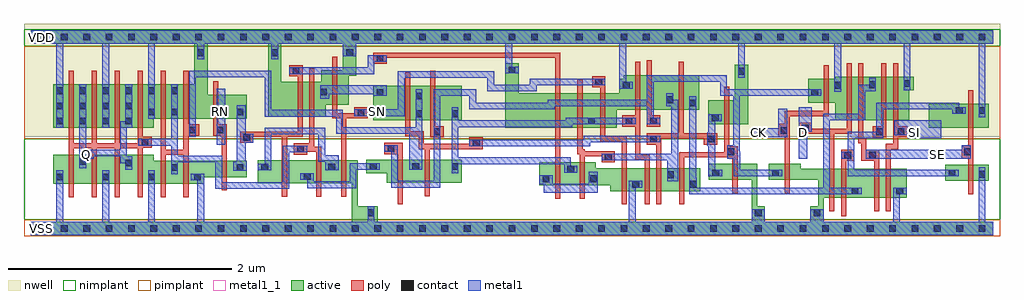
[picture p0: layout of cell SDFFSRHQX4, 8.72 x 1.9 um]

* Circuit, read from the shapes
.subckt SDFFSRHQX4 CK D Q RN SE SI SN VDD VSS
M1 Q n1 VSS VSS nfet w=0.26u l=0.045u m=4
M2 n1 n2 VSS VSS nfet w=0.205u l=0.045u m=2
M3 n3 RN VSS VSS nfet w=0.145u l=0.045u
M4 n4 n3 n5 VSS nfet w=0.205u l=0.045u
M5 n5 n1 n4 VSS nfet w=0.205u l=0.045u
M6 VSS SN n5 VSS nfet w=0.205u l=0.045u
M7 n2 n6 n4 VSS nfet w=0.205u l=0.045u
M8 n7 n8 n2 VSS nfet w=0.205u l=0.045u
M9 n7 n3 n9 VSS nfet w=0.205u l=0.045u
M10 n9 n10 n7 VSS nfet w=0.205u l=0.045u
M11 VSS SN n9 VSS nfet w=0.205u l=0.045u
M12 n11 n7 VSS VSS nfet w=0.205u l=0.045u
M13 n10 n8 n11 VSS nfet w=0.205u l=0.045u
M14 n12 n6 n10 VSS nfet w=0.205u l=0.045u
M15 VSS n6 n8 VSS nfet w=0.145u l=0.045u
M16 VSS CK n6 VSS nfet w=0.145u l=0.045u
M17 n13 D VSS VSS nfet w=0.26u l=0.045u
M18 n12 n14 n13 VSS nfet w=0.26u l=0.045u
M19 n15 SE n12 VSS nfet w=0.26u l=0.045u
M20 VSS SI n15 VSS nfet w=0.26u l=0.045u
M21 VSS SE n14 VSS nfet w=0.145u l=0.045u
M22 Q n1 VDD VDD pfet w=0.39u l=0.045u m=4
M23 n1 n2 VDD VDD pfet w=0.31u l=0.045u m=2
M24 n3 RN VDD VDD pfet w=0.215u l=0.045u
M25 n16 n3 VDD VDD pfet w=0.31u l=0.045u
M26 n17 n1 n16 VDD pfet w=0.31u l=0.045u
M27 VDD SN n17 VDD pfet w=0.31u l=0.045u
M28 n2 n8 n17 VDD pfet w=0.31u l=0.045u
M29 n7 n6 n2 VDD pfet w=0.31u l=0.045u
M30 n18 n3 VDD VDD pfet w=0.31u l=0.045u
M31 n7 n10 n18 VDD pfet w=0.31u l=0.045u
M32 VDD SN n7 VDD pfet w=0.31u l=0.045u
M33 n19 n7 VDD VDD pfet w=0.31u l=0.045u
M34 n10 n6 n19 VDD pfet w=0.31u l=0.045u
M35 n12 n8 n10 VDD pfet w=0.31u l=0.045u
M36 VDD n6 n8 VDD pfet w=0.215u l=0.045u
M37 VDD CK n6 VDD pfet w=0.215u l=0.045u
M38 n20 D VDD VDD pfet w=0.39u l=0.045u
M39 n12 SE n20 VDD pfet w=0.39u l=0.045u
M40 n21 n14 n12 VDD pfet w=0.39u l=0.045u
M41 VDD SI n21 VDD pfet w=0.39u l=0.045u
M42 VDD SE n14 VDD pfet w=0.215u l=0.045u
.ends

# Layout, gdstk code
import gdstk
lib = gdstk.Library(unit=1e-6, precision=5e-10)
def R(c, l, rs):  # rectangles x0, y0, x1, y1
    for r in rs: c.add(gdstk.rectangle(r[:2], r[2:], *l))
def A(c, l, x, y, w, h, nx, ny, dx, dy):  # array of equal rectangles
    R(c, l, [(x+i*dx, y+j*dy, x+i*dx+w, y+j*dy+h) for i in range(nx) for j in range(ny)])
def P(c, l, *ps):  # polygons
    for p in ps: c.add(gdstk.Polygon(p, *l))
active = (1, 0)
nwell = (2, 0)
poly = (3, 0)
nimplant = (4, 0)
pimplant = (5, 0)
contact = (6, 0)
metal1 = (7, 0)
metal1_1 = (7, 1)

sdffsrhqx4 = lib.new_cell('SDFFSRHQX4')
R(sdffsrhqx4, active, [(8.17,0.425,8.56,0.57), (8.025,0.9,8.56,1.115), (3.06,0.965,3.85,1.275)])
P(sdffsrhqx4, active, [(0,1.77),(8.6,1.77),(8.6,1.65),(2.91,1.65),(2.91,1.365),(2.84,1.365),(2.84,1.105),(2.635,1.105),(2.635,1),(2.12,1),(2.12,1.65),(2.24,1.65),(2.24,1.31),(2.595,1.31),(2.595,1.415),(2.79,1.415),(2.79,1.65),(1.58,1.65),(1.58,1.195),(1.93,1.195),(1.93,0.98),(1.1,0.98),(1.1,0.9),(0.2,0.9),(0.2,1.29),(1.46,1.29),(1.46,1.65),(0,1.65)],
  [(4.24,1.475),(4.36,1.475),(4.36,1.21),(5.26,1.21),(5.26,1.34),(5.3,1.34),(5.3,1.37),(5.975,1.37),(5.975,1.06),(5.235,1.06),(5.235,0.9),(4.24,0.9)],
  [(6.29,1.465),(6.41,1.465),(6.41,0.93),(6.055,0.93),(6.055,1.145),(6.29,1.145)],
  [(7.19,1.355),(7.89,1.355),(7.89,1.235),(7.85,1.235),(7.85,0.965),(7.19,0.965),(7.19,1.125),(6.945,1.125),(6.945,1.34),(7.19,1.34)],
  [(0.2,0.66),(1.1,0.66),(1.1,0.605),(1.93,0.605),(1.93,0.46),(1.55,0.46),(1.55,0.4),(0.2,0.4)],
  [(3,0.615),(3.85,0.615),(3.85,0.41),(3.18,0.41),(3.18,0.495),(3,0.495)],
  [(2.03,0.61),(2.92,0.61),(2.92,0.2),(3.1,0.2),(3.1,0.06),(6.44,0.06),(6.44,0.435),(6.06,0.435),(6.06,0.58),(6.49,0.58),(6.49,0.2),(6.56,0.2),(6.56,0.06),(6.965,0.06),(6.965,0.2),(7.035,0.2),(7.035,0.435),(6.595,0.435),(6.595,0.58),(6.88,0.58),(6.88,0.535),(7.825,0.535),(7.825,0.275),(7.085,0.275),(7.085,0.06),(8.6,0.06),(8.6,-0.06),(0,-0.06),(0,0.06),(2.87,0.06),(2.87,0.405),(2.03,0.405)],
  [(4.545,0.59),(5.05,0.59),(5.05,0.54),(5.98,0.54),(5.98,0.335),(5.18,0.335),(5.18,0.385),(4.545,0.385)])
R(sdffsrhqx4, nwell, [(-0.06,0.82,8.66,1.83)])
P(sdffsrhqx4, poly, [(0.34,1.41),(0.385,1.41),(0.385,0.76),(0.545,0.76),(0.545,1.41),(0.59,1.41),(0.59,0.76),(0.75,0.76),(0.75,1.41),(0.795,1.41),(0.795,0.76),(0.955,0.76),(0.955,1.41),(1,1.41),(1,0.82),(1.08,0.82),(1.08,0.72),(1,0.72),(1,0.28),(0.955,0.28),(0.955,0.715),(0.795,0.715),(0.795,0.28),(0.75,0.28),(0.75,0.715),(0.59,0.715),(0.59,0.28),(0.545,0.28),(0.545,0.715),(0.385,0.715),(0.385,0.28),(0.34,0.28)],
  [(1.16,1.41),(1.205,1.41),(1.205,0.705),(1.365,0.705),(1.365,1.41),(1.41,1.41),(1.41,0.93),(1.505,0.93),(1.505,0.83),(1.41,0.83),(1.41,0.28),(1.365,0.28),(1.365,0.66),(1.205,0.66),(1.205,0.28),(1.16,0.28)],
  [(1.63,1.315),(1.675,1.315),(1.675,0.93),(1.75,0.93),(1.75,0.34),(1.705,0.34),(1.705,0.83),(1.63,0.83)],
  [(2.31,1.46),(2.43,1.46),(2.43,0.82),(2.29,0.82),(2.29,0.285),(2.245,0.285),(2.245,0.82),(1.99,0.82),(1.99,0.765),(1.87,0.765),(1.87,0.865),(2.385,0.865),(2.385,1.36),(2.31,1.36)],
  [(2.695,1.535),(2.74,1.535),(2.74,1.03),(2.89,1.03),(2.89,1.085),(3.01,1.085),(3.01,0.985),(2.82,0.985),(2.82,0.285),(2.775,0.285),(2.775,0.985),(2.695,0.985)],
  [(3.06,1.57),(4.73,1.57),(4.73,0.265),(4.685,0.265),(4.685,1.525),(3.18,1.525),(3.18,1.47),(3.06,1.47)],
  [(2.49,1.43),(2.535,1.43),(2.535,0.73),(2.595,0.73),(2.595,0.285),(2.55,0.285),(2.55,0.685),(2.47,0.685),(2.47,0.66),(2.35,0.66),(2.35,0.76),(2.49,0.76)],
  [(5.015,1.36),(5.135,1.36),(5.135,0.825),(5.325,0.825),(5.325,0.215),(5.28,0.215),(5.28,0.78),(5.09,0.78),(5.09,1.26),(5.015,1.26)],
  [(3.345,1.395),(3.39,1.395),(3.39,0.87),(3.51,0.87),(3.51,0.755),(3.92,0.755),(3.92,0.815),(4.04,0.815),(4.04,0.71),(3.565,0.71),(3.565,0.29),(3.52,0.29),(3.52,0.71),(3.465,0.71),(3.465,0.825),(3.345,0.825)],
  [(3.57,1.41),(3.615,1.41),(3.615,0.915),(3.69,0.915),(3.69,0.815),(3.57,0.815)],
  [(4.885,1.33),(4.93,1.33),(4.93,0.71),(4.95,0.71),(4.95,0.69),(5.22,0.69),(5.22,0.59),(5.1,0.59),(5.1,0.645),(4.95,0.645),(4.95,0.265),(4.905,0.265),(4.905,0.665),(4.885,0.665)],
  [(5.4,1.49),(5.445,1.49),(5.445,0.66),(5.53,0.66),(5.53,0.215),(5.485,0.215),(5.485,0.615),(5.4,0.615),(5.4,0.91),(5.285,0.91),(5.285,1.01),(5.4,1.01)],
  [(5.505,1.505),(5.55,1.505),(5.55,1.01),(5.625,1.01),(5.625,0.91),(5.505,0.91)],
  [(5.79,1.49),(5.835,1.49),(5.835,0.85),(6.135,0.85),(6.135,0.75),(6.015,0.75),(6.015,0.805),(5.635,0.805),(5.635,0.215),(5.59,0.215),(5.59,0.75),(5.505,0.75),(5.505,0.85),(5.79,0.85)],
  [(7.085,1.46),(7.13,1.46),(7.13,1.005),(6.78,1.005),(6.78,0.315),(6.735,0.315),(6.735,0.815),(6.68,0.815),(6.68,0.935),(6.735,0.935),(6.735,1.05),(7.085,1.05)],
  [(6.86,0.945),(6.98,0.945),(6.98,0.89),(7.29,0.89),(7.29,1.475),(7.335,1.475),(7.335,0.845),(7.18,0.845),(7.18,0.155),(7.135,0.155),(7.135,0.845),(6.86,0.845)],
  [(7.395,1.475),(7.44,1.475),(7.44,0.805),(7.465,0.805),(7.465,0.705),(7.58,0.705),(7.58,0.155),(7.535,0.155),(7.535,0.605),(7.42,0.605),(7.42,0.76),(7.395,0.76)],
  [(7.6,1.475),(7.645,1.475),(7.645,0.815),(7.525,0.815),(7.525,0.915),(7.6,0.915)],
  [(7.705,1.475),(7.75,1.475),(7.75,0.915),(7.835,0.915),(7.835,0.815),(7.75,0.815),(7.75,0.71),(7.685,0.71),(7.685,0.155),(7.64,0.155),(7.64,0.755),(7.705,0.755)],
  [(6.195,1.265),(6.24,1.265),(6.24,0.735),(6.315,0.735),(6.315,0.315),(6.27,0.315),(6.27,0.635),(5.84,0.635),(5.84,0.215),(5.795,0.215),(5.795,0.68),(6.195,0.68)],
  [(8.375,1.235),(8.42,1.235),(8.42,0.305),(8.375,0.305),(8.375,0.625),(8.32,0.625),(8.32,0.745),(8.375,0.745)],
  [(3.16,0.765),(3.325,0.765),(3.325,0.215),(3.28,0.215),(3.28,0.665),(3.16,0.665)],
  [(7.24,0.705),(7.36,0.705),(7.36,0.605),(7.285,0.605),(7.285,0.11),(7.24,0.11)])
R(sdffsrhqx4, nimplant, [(-0.06,0.08,8.66,0.8), (-0.06,1.63,8.66,1.78)])
R(sdffsrhqx4, pimplant, [(-0.06,-0.07,8.66,0.08), (-0.06,0.8,8.66,1.63)])
A(sdffsrhqx4, contact, 0.07, -0.03, 0.06, 0.06, 43, 2, 0.2, 1.71)
A(sdffsrhqx4, contact, 0.23, 0.43, 0.06, 0.06, 4, 1, 0.41, 0)
A(sdffsrhqx4, contact, 0.23, 0.93, 0.06, 0.06, 4, 2, 0.205, 0.135)
A(sdffsrhqx4, contact, 0.23, 1.2, 0.06, 0.06, 6, 1, 0.205, 0)
R(sdffsrhqx4, contact, [(3.01,0.11,3.07,0.17), (6.47,0.11,6.53,0.17), (6.995,0.11,7.055,0.17), (7.335,0.305,7.395,0.365), (7.735,0.305,7.795,0.365), (5.375,0.365,5.435,0.425), (5.89,0.365,5.95,0.425), (4.575,0.415,4.635,0.475), (5,0.415,5.06,0.475), (2.44,0.435,2.5,0.495), (5.685,0.45,5.745,0.51), (8.47,0.455,8.53,0.515), (6.09,0.465,6.15,0.525), (6.625,0.465,6.685,0.525), (8.2,0.465,8.26,0.525), (4.795,0.5,4.855,0.56), (1.255,0.515,1.315,0.575), (1.84,0.515,1.9,0.575), (2.06,0.52,2.12,0.58), (2.66,0.52,2.72,0.58), (3.03,0.525,3.09,0.585), (3.41,0.525,3.47,0.585), (3.76,0.525,3.82,0.585), (0.845,0.555,0.905,0.615), (0.435,0.57,0.495,0.63), (5.13,0.61,5.19,0.67), (7.27,0.625,7.33,0.685), (7.49,0.625,7.55,0.685), (6.225,0.655,6.285,0.715), (8.34,0.655,8.4,0.715), (2.38,0.68,2.44,0.74), (3.19,0.685,3.25,0.745), (3.95,0.735,4.01,0.795), (0.99,0.74,1.05,0.8), (5.535,0.77,5.595,0.83), (6.045,0.77,6.105,0.83), (1.9,0.785,1.96,0.845), (3.6,0.835,3.66,0.895), (7.555,0.835,7.615,0.895), (7.745,0.835,7.805,0.895), (6.7,0.845,6.76,0.905), (1.415,0.85,1.475,0.91), (1.66,0.85,1.72,0.91), (6.89,0.865,6.95,0.925), (4.98,0.93,5.04,0.99), (5.315,0.93,5.375,0.99), (5.535,0.93,5.595,0.99), (6.085,0.96,6.145,1.02), (3.44,0.995,3.5,1.055), (3.76,0.995,3.82,1.055), (2.92,1.005,2.98,1.065), (1.05,1.01,1.11,1.07), (1.255,1.01,1.315,1.07), (1.84,1.01,1.9,1.07), (8.265,1.025,8.325,1.085), (8.47,1.025,8.53,1.085), (5.885,1.09,5.945,1.15), (5.68,1.12,5.74,1.18), (3.44,1.155,3.5,1.215), (3.09,1.185,3.15,1.245), (6.975,1.185,7.035,1.245), (2.585,1.19,2.645,1.25), (5.29,1.25,5.35,1.31), (7.18,1.25,7.24,1.31), (7.49,1.255,7.55,1.315), (7.8,1.265,7.86,1.325), (5.045,1.28,5.105,1.34), (6.32,1.375,6.38,1.435), (2.34,1.38,2.4,1.44), (4.27,1.385,4.33,1.445), (3.09,1.49,3.15,1.55), (1.49,1.54,1.55,1.6), (2.15,1.54,2.21,1.6), (2.82,1.54,2.88,1.6)])
R(sdffsrhqx4, metal1, [(1.66,0.75,1.74,1.25)])
P(sdffsrhqx4, metal1, [(0,1.77),(8.6,1.77),(8.6,1.65),(8.53,1.65),(8.53,0.995),(8.47,0.995),(8.47,1.65),(7.86,1.65),(7.86,1.235),(7.8,1.235),(7.8,1.65),(7.24,1.65),(7.24,1.22),(7.18,1.22),(7.18,1.65),(6.38,1.65),(6.38,1.345),(6.32,1.345),(6.32,1.65),(5.32,1.65),(5.32,1.31),(5.38,1.31),(5.38,1.25),(5.26,1.25),(5.26,1.65),(4.3,1.65),(4.3,1.445),(4.36,1.445),(4.36,1.385),(4.24,1.385),(4.24,1.65),(2.91,1.65),(2.91,1.54),(2.79,1.54),(2.79,1.65),(2.21,1.65),(2.21,1.51),(2.15,1.51),(2.15,1.65),(1.55,1.65),(1.55,1.51),(1.49,1.51),(1.49,1.65),(1.11,1.65),(1.11,0.98),(1.05,0.98),(1.05,1.65),(0.7,1.65),(0.7,0.9),(0.64,0.9),(0.64,1.65),(0.29,1.65),(0.29,0.9),(0.23,0.9),(0.23,1.65),(0,1.65)],
  [(0.435,1.29),(0.495,1.29),(0.495,0.705),(0.8,0.705),(0.8,0.96),(0.845,0.96),(0.845,1.29),(0.905,1.29),(0.905,0.9),(0.86,0.9),(0.86,0.645),(0.905,0.645),(0.905,0.525),(0.845,0.525),(0.845,0.585),(0.8,0.585),(0.8,0.645),(0.565,0.645),(0.565,0.625),(0.495,0.625),(0.495,0.54),(0.435,0.54)],
  [(3.01,1.55),(3.18,1.55),(3.18,1.49),(3.07,1.49),(3.07,1.38),(2.31,1.38),(2.31,1.44),(3.01,1.44)],
  [(3.28,1.405),(4.14,1.405),(4.14,1.285),(4.46,1.285),(4.46,1.34),(5.135,1.34),(5.135,1.28),(4.52,1.28),(4.52,1.225),(4.08,1.225),(4.08,1.345),(3.34,1.345),(3.34,1.005),(2.89,1.005),(2.89,1.065),(3.035,1.065),(3.035,1.085),(3.165,1.085),(3.165,1.065),(3.28,1.065)],
  [(1.255,1.29),(1.315,1.29),(1.315,0.65),(1.71,0.65),(1.71,0.415),(2.25,0.415),(2.25,0.74),(2.47,0.74),(2.47,0.68),(2.31,0.68),(2.31,0.355),(1.65,0.355),(1.65,0.59),(1.315,0.59),(1.315,0.485),(1.255,0.485),(1.255,0.74),(0.96,0.74),(0.96,0.8),(1.255,0.8)],
  [(1.415,1.41),(2.15,1.41),(2.15,1.06),(2.79,1.06),(2.79,0.905),(3.44,0.905),(3.44,1.245),(3.5,1.245),(3.5,0.525),(3.38,0.525),(3.38,0.845),(2.73,0.845),(2.73,1),(2.09,1),(2.09,1.35),(1.475,1.35),(1.475,0.82),(1.415,0.82)],
  [(1.84,1.1),(1.92,1.1),(1.92,0.845),(1.99,0.845),(1.99,0.765),(1.92,0.765),(1.92,0.595),(1.93,0.595),(1.93,0.515),(1.81,0.515),(1.81,0.595),(1.84,0.595)],
  [(0.23,0.52),(0.29,0.52),(0.29,0.06),(0.64,0.06),(0.64,0.52),(0.7,0.52),(0.7,0.06),(1.05,0.06),(1.05,0.52),(1.11,0.52),(1.11,0.06),(1.49,0.06),(1.49,0.43),(1.43,0.43),(1.43,0.49),(1.55,0.49),(1.55,0.06),(3.01,0.06),(3.01,0.2),(3.07,0.2),(3.07,0.06),(5.345,0.06),(5.345,0.425),(5.465,0.425),(5.465,0.365),(5.405,0.365),(5.405,0.06),(6.44,0.06),(6.44,0.17),(6.56,0.17),(6.56,0.06),(6.965,0.06),(6.965,0.17),(7.085,0.17),(7.085,0.06),(7.705,0.06),(7.705,0.365),(7.825,0.365),(7.825,0.305),(7.765,0.305),(7.765,0.06),(8.47,0.06),(8.47,0.545),(8.53,0.545),(8.53,0.06),(8.6,0.06),(8.6,-0.06),(0,-0.06),(0,0.06),(0.23,0.06)],
  [(2.585,1.28),(3.18,1.28),(3.18,1.185),(3.06,1.185),(3.06,1.2),(2.665,1.2),(2.665,1.16),(2.585,1.16)],
  [(2.09,0.9),(2.63,0.9),(2.63,0.655),(2.75,0.655),(2.75,0.52),(2.63,0.52),(2.63,0.595),(2.57,0.595),(2.57,0.84),(2.15,0.84),(2.15,0.52),(2.03,0.52),(2.03,0.58),(2.09,0.58)],
  [(5.505,1.37),(6.22,1.37),(6.22,1.245),(7.065,1.245),(7.065,1.185),(6.335,1.185),(6.335,0.685),(6.34,0.685),(6.34,0.525),(6.715,0.525),(6.715,0.465),(6.28,0.465),(6.28,0.625),(6.225,0.625),(6.225,0.745),(6.275,0.745),(6.275,1.185),(6.16,1.185),(6.16,1.31),(5.565,1.31),(5.565,0.99),(5.625,0.99),(5.625,0.93),(5.505,0.93),(5.505,1.09),(4.68,1.09),(4.68,1.065),(3.92,1.065),(3.92,1.185),(3.66,1.185),(3.66,0.365),(3.22,0.365),(3.22,0.685),(3.16,0.685),(3.16,0.745),(3.28,0.745),(3.28,0.425),(3.6,0.425),(3.6,1.245),(3.98,1.245),(3.98,1.125),(4.62,1.125),(4.62,1.15),(5.505,1.15)],
  [(3.76,1.085),(3.82,1.085),(3.82,0.965),(4.78,0.965),(4.78,0.99),(5.405,0.99),(5.405,0.93),(4.84,0.93),(4.84,0.905),(3.82,0.905),(3.82,0.635),(4.825,0.635),(4.825,0.56),(4.885,0.56),(4.885,0.5),(4.765,0.5),(4.765,0.575),(3.82,0.575),(3.82,0.495),(3.76,0.495)],
  [(2.85,0.585),(3.12,0.585),(3.12,0.525),(2.91,0.525),(2.91,0.36),(2.47,0.36),(2.47,0.435),(2.41,0.435),(2.41,0.495),(2.53,0.495),(2.53,0.42),(2.85,0.42)],
  [(5.68,1.21),(5.74,1.21),(5.74,1.15),(5.785,1.15),(5.785,0.42),(5.685,0.42),(5.685,0.61),(5.1,0.61),(5.1,0.67),(5.725,0.67),(5.725,1.09),(5.68,1.09)],
  [(7.49,1.345),(7.55,1.345),(7.55,1.225),(7.455,1.225),(7.455,0.965),(7.14,0.965),(7.14,0.365),(7.425,0.365),(7.425,0.305),(5.885,0.305),(5.885,1.18),(5.945,1.18),(5.945,0.455),(5.95,0.455),(5.95,0.365),(7.08,0.365),(7.08,1.025),(7.395,1.025),(7.395,1.285),(7.49,1.285)],
  [(4.94,0.83),(5.625,0.83),(5.625,0.77),(5,0.77),(5,0.735),(3.92,0.735),(3.92,0.795),(4.94,0.795)],
  [(4.545,0.475),(4.665,0.475),(4.665,0.4),(4.985,0.4),(4.985,0.505),(5.065,0.505),(5.065,0.32),(4.585,0.32),(4.585,0.395),(4.545,0.395)],
  [(6.055,1.02),(6.175,1.02),(6.175,0.96),(6.115,0.96),(6.115,0.525),(6.18,0.525),(6.18,0.465),(6.055,0.465),(6.055,0.74),(6.045,0.74),(6.045,0.86),(6.055,0.86)],
  [(6.68,1.07),(6.76,1.07),(6.76,0.815),(6.435,0.815),(6.435,0.895),(6.68,0.895)],
  [(6.86,1.085),(6.98,1.085),(6.98,0.865),(6.94,0.865),(6.94,0.625),(6.86,0.625)],
  [(7.555,1.125),(8.295,1.125),(8.295,1.085),(8.355,1.085),(8.355,1.025),(8.235,1.025),(8.235,1.065),(7.615,1.065),(7.615,0.805),(7.36,0.805),(7.36,0.525),(8.29,0.525),(8.29,0.465),(7.3,0.465),(7.3,0.625),(7.24,0.625),(7.24,0.685),(7.3,0.685),(7.3,0.865),(7.555,0.865)],
  [(7.715,0.965),(8.135,0.965),(8.135,0.805),(7.835,0.805),(7.835,0.835),(7.715,0.835)],
  [(8.32,0.745),(8.4,0.745),(8.4,0.625),(7.46,0.625),(7.46,0.705),(8.32,0.705)])
R(sdffsrhqx4, metal1_1, [(0.06,-0.04,0.14,0.04), (0.46,0.625,0.54,0.705), (8.06,0.625,8.14,0.705), (6.46,0.815,6.54,0.895), (6.86,0.815,6.94,0.895), (7.86,0.815,7.94,0.895), (1.66,1.005,1.74,1.085), (3.06,1.005,3.14,1.085), (0.06,1.67,0.14,1.75)])
sdffsrhqx4.add(gdstk.Label('SN', (3.1,1.045), layer=7, texttype=1))
sdffsrhqx4.add(gdstk.Label('SE', (8.1,0.665), layer=7, texttype=1))
sdffsrhqx4.add(gdstk.Label('SI', (7.9,0.855), layer=7, texttype=1))
sdffsrhqx4.add(gdstk.Label('D', (6.9,0.855), layer=7, texttype=1))
sdffsrhqx4.add(gdstk.Label('CK', (6.5,0.855), layer=7, texttype=1))
sdffsrhqx4.add(gdstk.Label('RN', (1.7,1.045), layer=7, texttype=1))
sdffsrhqx4.add(gdstk.Label('Q', (0.5,0.665), layer=7, texttype=1))
sdffsrhqx4.add(gdstk.Label('VDD', (0.1,1.71), layer=7, texttype=1))
sdffsrhqx4.add(gdstk.Label('VSS', (0.1,0), layer=7, texttype=1))
sdffsrhqx4.add(gdstk.Label('SDFFSRHQX4', (0,0), layer=63, texttype=0))

lib.write_gds('SDFFSRHQX4.gds')
